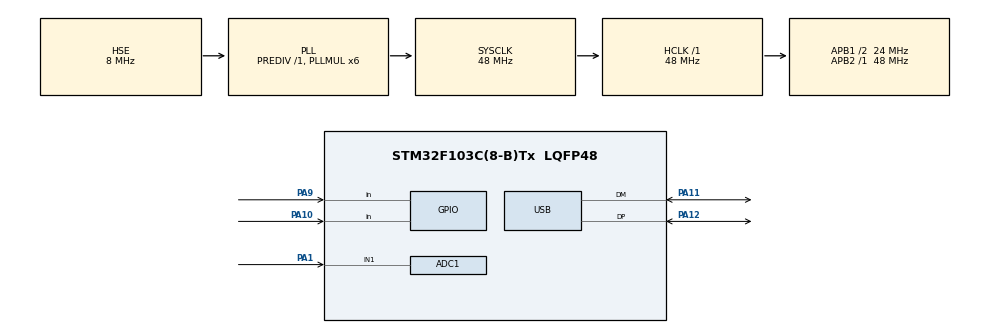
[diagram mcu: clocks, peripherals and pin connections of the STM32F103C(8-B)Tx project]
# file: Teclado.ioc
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ADC1.Channel-0\#ChannelRegularConversion=ADC_CHANNEL_1
ADC1.NbrOfConversionFlag=1
ADC1.Rank-0\#ChannelRegularConversion=1
ADC1.SamplingTime-0\#ChannelRegularConversion=ADC_SAMPLETIME_1CYCLE_5
ADC1.master=1
Mcu.Family=STM32F1
Mcu.Name=STM32F103C(8-B)Tx
Mcu.Package=LQFP48
NVIC.PriorityGroup=NVIC_PRIORITYGROUP_4
NVIC.USB_LP_CAN1_RX0_IRQn=true\:0\:0\:false\:false\:true\:false\:true
PA1.Signal=SharedAnalog_PA1
PA10.Signal=GPIO_Input
PA11.Mode=Device
PA11.Signal=USB_DM
PA12.Mode=Device
PA12.Signal=USB_DP
PA13.Mode=Serial_Wire
PA13.Signal=SYS_JTMS-SWDIO
PA14.Mode=Serial_Wire
PA14.Signal=SYS_JTCK-SWCLK
PA9.Signal=GPIO_Input
PC14-OSC32_IN.Mode=LSE-External-Oscillator
PC14-OSC32_IN.Signal=RCC_OSC32_IN
PC15-OSC32_OUT.Mode=LSE-External-Oscillator
PC15-OSC32_OUT.Signal=RCC_OSC32_OUT
PD0-OSC_IN.Mode=HSE-External-Oscillator
PD0-OSC_IN.Signal=RCC_OSC_IN
PD1-OSC_OUT.Mode=HSE-External-Oscillator
PD1-OSC_OUT.Signal=RCC_OSC_OUT
ProjectManager.HeapSize=0x200
ProjectManager.StackSize=0x400
ProjectManager.TargetToolchain=STM32CubeIDE
RCC.ADCPresc=RCC_ADCPCLK2_DIV4
RCC.AHBFreq_Value=48000000
RCC.APB1CLKDivider=RCC_HCLK_DIV2
RCC.APB1Freq_Value=24000000
RCC.APB1TimFreq_Value=48000000
RCC.APB2Freq_Value=48000000
RCC.APB2TimFreq_Value=48000000
RCC.HCLKFreq_Value=48000000
RCC.PLLMUL=RCC_PLL_MUL6
RCC.SYSCLKFreq_VALUE=48000000
RCC.SYSCLKSource=RCC_SYSCLKSOURCE_PLLCLK
RCC.USBFreq_Value=48000000
SH.SharedAnalog_PA1.0=GPIO_Analog
SH.SharedAnalog_PA1.1=ADC1_IN1,IN1
USB_DEVICE.CLASS_NAME_FS=CDC
USB_DEVICE.VirtualMode=Cdc
USB_DEVICE.VirtualModeFS=Cdc_FS
VP_USB_DEVICE_VS_USB_DEVICE_CDC_FS.Mode=CDC_FS
board=custom

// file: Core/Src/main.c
/* USER CODE BEGIN Header */
/**
  ******************************************************************************
  * @file           : main.c
  * @brief          : Main program body
  ******************************************************************************
  * @attention
  *
  * <h2><center>&copy; Copyright (c) 2026 STMicroelectronics.
  * All rights reserved.</center></h2>
  *
  * This software component is licensed by ST under BSD 3-Clause license,
  * the "License"; You may not use this file except in compliance with the
  * License. You may obtain a copy of the License at:
  *                        opensource.org/licenses/BSD-3-Clause
  *
  ******************************************************************************
  */
/* USER CODE END Header */
#include "main.h"
#include "usb_device.h"
#include "usbd_cdc_if.h"
#include <stdio.h>

ADC_HandleTypeDef hadc1;

/* USER CODE BEGIN PV */
extern USBD_HandleTypeDef hUsbDeviceFS;
uint32_t valor_adc = 0;
float tensao = 0.0;
char buffer_usb[64];
/* USER CODE END PV */

void SystemClock_Config(void);
static void MX_GPIO_Init(void);
static void MX_ADC1_Init(void);

/* USER CODE BEGIN 0 */
void USB_SendKey(uint8_t modifier, uint8_t keycode)
{
  uint8_t report[8] = {0};
  report[0] = modifier; // ex: 0x02 = Shift esquerdo
  report[2] = keycode;  // ex: 0x04 = tecla 'A'
  USBD_HID_SendReport(&hUsbDeviceFS, report, 8);
}

void USB_ReleaseKey(void)
{
  uint8_t report[8] = {0};
  USBD_HID_SendReport(&hUsbDeviceFS, report, 8);
}
/* USER CODE END 0 */

int main(void)
{

  /* MCU Configuration--------------------------------------------------------*/

  /* Reset of all peripherals, Initializes the Flash interface and the Systick. */
  HAL_Init();

  /* Configure the system clock */
  SystemClock_Config();

  /* Initialize all configured peripherals */
  MX_GPIO_Init();
  MX_USB_DEVICE_Init();
  MX_ADC1_Init();
  /* USER CODE BEGIN 2 */
  GPIO_InitTypeDef GPIO_InitStruct = {0};
     GPIO_InitStruct.Pin = GPIO_PIN_12;
     GPIO_InitStruct.Mode = GPIO_MODE_OUTPUT_PP;
     GPIO_InitStruct.Pull = GPIO_NOPULL;
     GPIO_InitStruct.Speed = GPIO_SPEED_FREQ_LOW;
     HAL_GPIO_Init(GPIOA, &GPIO_InitStruct);
     HAL_GPIO_WritePin(GPIOA, GPIO_PIN_12, GPIO_PIN_RESET);
       HAL_Delay(200);
       MX_USB_DEVICE_Init();
  /* USER CODE END 2 */

  /* Infinite loop */
  /* USER CODE BEGIN WHILE */
  while (1)
  {

	        HAL_ADC_Start(&hadc1);
	        if (HAL_ADC_PollForConversion(&hadc1, 10) == HAL_OK)
	        {
	            valor_adc = HAL_ADC_GetValue(&hadc1);
	            tensao = ((float)valor_adc * 3.3f) / 4095.0f;
	        }
	        HAL_ADC_Stop(&hadc1);

	        // 2. Formata a string (exemplo mandando valor bruto e tensão)
	        // O formato JSON facilita a leitura no JavaScript/Web
	        int len = snprintf(buffer_usb, sizeof(buffer_usb), "{\"adc\":%lu,\"volts\":%.2f}\r\n", valor_adc, tensao);

	        CDC_Transmit_FS((uint8_t*)buffer_usb, len);

	        HAL_Delay(200);
    /* USER CODE END WHILE */

  }
}

void SystemClock_Config(void)
{
  RCC_OscInitTypeDef RCC_OscInitStruct = {0};
  RCC_ClkInitTypeDef RCC_ClkInitStruct = {0};
  RCC_PeriphCLKInitTypeDef PeriphClkInit = {0};

  /** Initializes the RCC Oscillators according to the specified parameters
  * in the RCC_OscInitTypeDef structure.
  */
  RCC_OscInitStruct.OscillatorType = RCC_OSCILLATORTYPE_HSE;
  RCC_OscInitStruct.HSEState = RCC_HSE_ON;
  RCC_OscInitStruct.HSEPredivValue = RCC_HSE_PREDIV_DIV1;
  RCC_OscInitStruct.HSIState = RCC_HSI_ON;
  RCC_OscInitStruct.PLL.PLLState = RCC_PLL_ON;
  RCC_OscInitStruct.PLL.PLLSource = RCC_PLLSOURCE_HSE;
  RCC_OscInitStruct.PLL.PLLMUL = RCC_PLL_MUL6;
  if (HAL_RCC_OscConfig(&RCC_OscInitStruct) != HAL_OK)
  {
    Error_Handler();
  }
  /** Initializes the CPU, AHB and APB buses clocks
  */
  RCC_ClkInitStruct.ClockType = RCC_CLOCKTYPE_HCLK|RCC_CLOCKTYPE_SYSCLK
                              |RCC_CLOCKTYPE_PCLK1|RCC_CLOCKTYPE_PCLK2;
  RCC_ClkInitStruct.SYSCLKSource = RCC_SYSCLKSOURCE_PLLCLK;
  RCC_ClkInitStruct.AHBCLKDivider = RCC_SYSCLK_DIV1;
  RCC_ClkInitStruct.APB1CLKDivider = RCC_HCLK_DIV2;
  RCC_ClkInitStruct.APB2CLKDivider = RCC_HCLK_DIV1;

  if (HAL_RCC_ClockConfig(&RCC_ClkInitStruct, FLASH_LATENCY_1) != HAL_OK)
  {
    Error_Handler();
  }
  PeriphClkInit.PeriphClockSelection = RCC_PERIPHCLK_ADC|RCC_PERIPHCLK_USB;
  PeriphClkInit.AdcClockSelection = RCC_ADCPCLK2_DIV4;
  PeriphClkInit.UsbClockSelection = RCC_USBCLKSOURCE_PLL;
  if (HAL_RCCEx_PeriphCLKConfig(&PeriphClkInit) != HAL_OK)
  {
    Error_Handler();
  }
}

static void MX_ADC1_Init(void)
{

  ADC_ChannelConfTypeDef sConfig = {0};

  /** Common config
  */
  hadc1.Instance = ADC1;
  hadc1.Init.ScanConvMode = ADC_SCAN_DISABLE;
  hadc1.Init.ContinuousConvMode = DISABLE;
  hadc1.Init.DiscontinuousConvMode = DISABLE;
  hadc1.Init.ExternalTrigConv = ADC_SOFTWARE_START;
  hadc1.Init.DataAlign = ADC_DATAALIGN_RIGHT;
  hadc1.Init.NbrOfConversion = 1;
  if (HAL_ADC_Init(&hadc1) != HAL_OK)
  {
    Error_Handler();
  }
  /** Configure Regular Channel
  */
  sConfig.Channel = ADC_CHANNEL_1;
  sConfig.Rank = ADC_REGULAR_RANK_1;
  sConfig.SamplingTime = ADC_SAMPLETIME_1CYCLE_5;
  if (HAL_ADC_ConfigChannel(&hadc1, &sConfig) != HAL_OK)
  {
    Error_Handler();
  }

}

static void MX_GPIO_Init(void)
{
  GPIO_InitTypeDef GPIO_InitStruct = {0};

  /* GPIO Ports Clock Enable */
  __HAL_RCC_GPIOC_CLK_ENABLE();
  __HAL_RCC_GPIOD_CLK_ENABLE();
  __HAL_RCC_GPIOA_CLK_ENABLE();

  /*Configure GPIO pins : PA9 PA10 */
  GPIO_InitStruct.Pin = GPIO_PIN_9|GPIO_PIN_10;
  GPIO_InitStruct.Mode = GPIO_MODE_INPUT;
  GPIO_InitStruct.Pull = GPIO_NOPULL;
  HAL_GPIO_Init(GPIOA, &GPIO_InitStruct);

}

void Error_Handler(void)
{
  __disable_irq();
  while (1)
  {
  }
}

/************************ (C) COPYRIGHT STMicroelectronics *****END OF FILE****/
